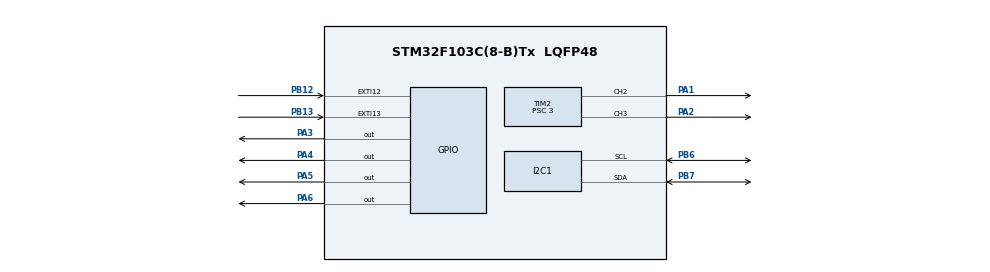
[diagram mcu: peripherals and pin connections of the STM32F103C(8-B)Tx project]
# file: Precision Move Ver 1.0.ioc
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Mcu.Family=STM32F1
Mcu.Name=STM32F103C(8-B)Tx
Mcu.Package=LQFP48
NVIC.EXTI15_10_IRQn=true\:0\:0\:false\:false\:true\:true\:true\:true
NVIC.PriorityGroup=NVIC_PRIORITYGROUP_4
PA1.Signal=S_TIM2_CH2
PA13.Mode=Serial_Wire
PA13.Signal=SYS_JTMS-SWDIO
PA14.Mode=Serial_Wire
PA14.Signal=SYS_JTCK-SWCLK
PA2.Signal=S_TIM2_CH3
PA3.Signal=GPIO_Output
PA4.Signal=GPIO_Output
PA5.Signal=GPIO_Output
PA6.Signal=GPIO_Output
PB12.Signal=GPXTI12
PB13.Signal=GPXTI13
PB6.Mode=I2C
PB6.Signal=I2C1_SCL
PB7.Mode=I2C
PB7.Signal=I2C1_SDA
ProjectManager.HeapSize=0x200
ProjectManager.StackSize=0x400
ProjectManager.TargetToolchain=STM32CubeIDE
RCC.APB1Freq_Value=8000000
RCC.APB2Freq_Value=8000000
SH.S_TIM2_CH2.0=TIM2_CH2,PWM Generation2 CH2
SH.S_TIM2_CH3.0=TIM2_CH3,PWM Generation3 CH3
TIM2.Channel-PWM\ Generation2\ CH2=TIM_CHANNEL_2
TIM2.Channel-PWM\ Generation3\ CH3=TIM_CHANNEL_3
TIM2.Period=199
TIM2.Prescaler=3
board=custom

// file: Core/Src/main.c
/* USER CODE BEGIN Header */
/**
  ******************************************************************************
  * @file           : main.c
  * @brief          : Main program body
  ******************************************************************************
  * @attention
  *
  * Copyright (c) 2023 STMicroelectronics.
  * All rights reserved.
  *
  * This software is licensed under terms that can be found in the LICENSE file
  * in the root directory of this software component.
  * If no LICENSE file comes with this software, it is provided AS-IS.
  *
  ******************************************************************************
  */
/* USER CODE END Header */
#include "main.h"

/* USER CODE BEGIN Includes */
#include "stm32f1xx_hal.h"
#include "stdio.h"
#include "i2c-lcd.h"
/* USER CODE END Includes */

I2C_HandleTypeDef hi2c1;
TIM_HandleTypeDef htim2;

/* USER CODE BEGIN PV */
//CountR va countL dung de dem so xung (1 xung = 1/20 vong tron banh xe) hay dem quang duong banh xe da di duoc
uint8_t current_pulse_in_50ms_R, current_pulse_in_50ms_L;
uint8_t current_speed_R;
uint8_t current_speed_L;
int expected_distance, sum_distance_R, sum_distance_L;
uint8_t expected_pulse_R, expected_pulse_L;
/* USER CODE END PV */

void SystemClock_Config(void);
static void MX_GPIO_Init(void);
static void MX_I2C1_Init(void);
static void MX_TIM2_Init(void);

/* USER CODE BEGIN 0 */
void run(){
	HAL_GPIO_WritePin(GPIOA, GPIO_PIN_3, GPIO_PIN_RESET);
	HAL_GPIO_WritePin(GPIOA, GPIO_PIN_4, GPIO_PIN_SET);
	HAL_GPIO_WritePin(GPIOA, GPIO_PIN_5, GPIO_PIN_RESET);
	HAL_GPIO_WritePin(GPIOA, GPIO_PIN_6, GPIO_PIN_SET);
	TIM2 -> CCR2 = current_speed_R;
	TIM2 -> CCR3 = current_speed_L;
  }

/* USER CODE END 0 */

int main(void)
{

  /* MCU Configuration--------------------------------------------------------*/

  /* Reset of all peripherals, Initializes the Flash interface and the Systick. */
  HAL_Init();

  /* Configure the system clock */
  SystemClock_Config();

  /* Initialize all configured peripherals */
  MX_GPIO_Init();
  MX_I2C1_Init();
  MX_TIM2_Init();
  /* USER CODE BEGIN 2 */
	HAL_TIM_PWM_Start(&htim2, TIM_CHANNEL_2);
	HAL_TIM_PWM_Start(&htim2, TIM_CHANNEL_3);
	lcd_clear_display();
	lcd_init();
	lcd_send_string("DisL: ");
	lcd_goto_XY(2, 0);
	lcd_send_string("DisR: ");
	lcd_goto_XY(1, 12);
	lcd_send_string("pts");
	lcd_goto_XY(2, 12);
	lcd_send_string("pts");
	current_speed_R = 170;
	current_speed_L = 168;
	run();
	//quang duong di duoc trong 50ms, dung de tinh van toc tuc thoi
	current_pulse_in_50ms_R = 0;
	current_pulse_in_50ms_L = 0;
	expected_pulse_R = 5;
	expected_pulse_L = 5;

	  //Quang duong xe di duoc tognthe tu luc bat dau cho toi khi dung lai
	sum_distance_R = 0;
	sum_distance_L = 0;
	expected_distance = 620;
  /* USER CODE END 2 */

  /* Infinite loop */
  while (1)
  {
    /* USER CODE BEGIN 3 */

	  lcd_goto_XY(1, 9);
	  lcd_send_data(current_pulse_in_50ms_L + 48);
	  lcd_goto_XY(2, 9);
	  lcd_send_data(current_pulse_in_50ms_R + 48);

	  current_pulse_in_50ms_R = 0;
	  current_pulse_in_50ms_L = 0;
	  HAL_Delay(50);
//	  current_speed_R = current_speed_R - (current_pulse_in_50ms_R - expected_pulse_R) * 3 ;
//	  current_speed_L = current_speed_L - (current_pulse_in_50ms_L - expected_pulse_L) * 2.25 ;
	  TIM2 -> CCR2 = current_speed_R;
	  TIM2 -> CCR3 = current_speed_L;
		if(sum_distance_R >= expected_distance){
			HAL_GPIO_WritePin(GPIOA, GPIO_PIN_3, GPIO_PIN_RESET);
			HAL_GPIO_WritePin(GPIOA, GPIO_PIN_4, GPIO_PIN_RESET);
		};
		if(sum_distance_L >= expected_distance){
			HAL_GPIO_WritePin(GPIOA, GPIO_PIN_5, GPIO_PIN_RESET);
			HAL_GPIO_WritePin(GPIOA, GPIO_PIN_6, GPIO_PIN_RESET);
		}

  }
  /* USER CODE END 3 */
}

void SystemClock_Config(void)
{
  RCC_OscInitTypeDef RCC_OscInitStruct = {0};
  RCC_ClkInitTypeDef RCC_ClkInitStruct = {0};

  /** Initializes the RCC Oscillators according to the specified parameters
  * in the RCC_OscInitTypeDef structure.
  */
  RCC_OscInitStruct.OscillatorType = RCC_OSCILLATORTYPE_HSI;
  RCC_OscInitStruct.HSIState = RCC_HSI_ON;
  RCC_OscInitStruct.HSICalibrationValue = RCC_HSICALIBRATION_DEFAULT;
  RCC_OscInitStruct.PLL.PLLState = RCC_PLL_NONE;
  if (HAL_RCC_OscConfig(&RCC_OscInitStruct) != HAL_OK)
  {
    Error_Handler();
  }

  /** Initializes the CPU, AHB and APB buses clocks
  */
  RCC_ClkInitStruct.ClockType = RCC_CLOCKTYPE_HCLK|RCC_CLOCKTYPE_SYSCLK
                              |RCC_CLOCKTYPE_PCLK1|RCC_CLOCKTYPE_PCLK2;
  RCC_ClkInitStruct.SYSCLKSource = RCC_SYSCLKSOURCE_HSI;
  RCC_ClkInitStruct.AHBCLKDivider = RCC_SYSCLK_DIV1;
  RCC_ClkInitStruct.APB1CLKDivider = RCC_HCLK_DIV1;
  RCC_ClkInitStruct.APB2CLKDivider = RCC_HCLK_DIV1;

  if (HAL_RCC_ClockConfig(&RCC_ClkInitStruct, FLASH_LATENCY_0) != HAL_OK)
  {
    Error_Handler();
  }
}

static void MX_I2C1_Init(void)
{

  hi2c1.Instance = I2C1;
  hi2c1.Init.ClockSpeed = 100000;
  hi2c1.Init.DutyCycle = I2C_DUTYCYCLE_2;
  hi2c1.Init.OwnAddress1 = 0;
  hi2c1.Init.AddressingMode = I2C_ADDRESSINGMODE_7BIT;
  hi2c1.Init.DualAddressMode = I2C_DUALADDRESS_DISABLE;
  hi2c1.Init.OwnAddress2 = 0;
  hi2c1.Init.GeneralCallMode = I2C_GENERALCALL_DISABLE;
  hi2c1.Init.NoStretchMode = I2C_NOSTRETCH_DISABLE;
  if (HAL_I2C_Init(&hi2c1) != HAL_OK)
  {
    Error_Handler();
  }

}

static void MX_TIM2_Init(void)
{

  TIM_MasterConfigTypeDef sMasterConfig = {0};
  TIM_OC_InitTypeDef sConfigOC = {0};

  htim2.Instance = TIM2;
  htim2.Init.Prescaler = 3;
  htim2.Init.CounterMode = TIM_COUNTERMODE_UP;
  htim2.Init.Period = 199;
  htim2.Init.ClockDivision = TIM_CLOCKDIVISION_DIV1;
  htim2.Init.AutoReloadPreload = TIM_AUTORELOAD_PRELOAD_DISABLE;
  if (HAL_TIM_PWM_Init(&htim2) != HAL_OK)
  {
    Error_Handler();
  }
  sMasterConfig.MasterOutputTrigger = TIM_TRGO_RESET;
  sMasterConfig.MasterSlaveMode = TIM_MASTERSLAVEMODE_DISABLE;
  if (HAL_TIMEx_MasterConfigSynchronization(&htim2, &sMasterConfig) != HAL_OK)
  {
    Error_Handler();
  }
  sConfigOC.OCMode = TIM_OCMODE_PWM1;
  sConfigOC.Pulse = 0;
  sConfigOC.OCPolarity = TIM_OCPOLARITY_HIGH;
  sConfigOC.OCFastMode = TIM_OCFAST_DISABLE;
  if (HAL_TIM_PWM_ConfigChannel(&htim2, &sConfigOC, TIM_CHANNEL_2) != HAL_OK)
  {
    Error_Handler();
  }
  if (HAL_TIM_PWM_ConfigChannel(&htim2, &sConfigOC, TIM_CHANNEL_3) != HAL_OK)
  {
    Error_Handler();
  }
  HAL_TIM_MspPostInit(&htim2);

}

static void MX_GPIO_Init(void)
{
  GPIO_InitTypeDef GPIO_InitStruct = {0};

  /* GPIO Ports Clock Enable */
  __HAL_RCC_GPIOA_CLK_ENABLE();
  __HAL_RCC_GPIOB_CLK_ENABLE();

  /*Configure GPIO pin Output Level */
  HAL_GPIO_WritePin(GPIOA, GPIO_PIN_3|GPIO_PIN_4|GPIO_PIN_5|GPIO_PIN_6, GPIO_PIN_RESET);

  /*Configure GPIO pins : PA3 PA4 PA5 PA6 */
  GPIO_InitStruct.Pin = GPIO_PIN_3|GPIO_PIN_4|GPIO_PIN_5|GPIO_PIN_6;
  GPIO_InitStruct.Mode = GPIO_MODE_OUTPUT_PP;
  GPIO_InitStruct.Pull = GPIO_NOPULL;
  GPIO_InitStruct.Speed = GPIO_SPEED_FREQ_LOW;
  HAL_GPIO_Init(GPIOA, &GPIO_InitStruct);

  /*Configure GPIO pins : PB12 PB13 */
  GPIO_InitStruct.Pin = GPIO_PIN_12|GPIO_PIN_13;
  GPIO_InitStruct.Mode = GPIO_MODE_IT_RISING;
  GPIO_InitStruct.Pull = GPIO_NOPULL;
  HAL_GPIO_Init(GPIOB, &GPIO_InitStruct);

  /* EXTI interrupt init*/
  HAL_NVIC_SetPriority(EXTI15_10_IRQn, 0, 0);
  HAL_NVIC_EnableIRQ(EXTI15_10_IRQn);

}

/* USER CODE BEGIN 4 */
void HAL_GPIO_EXTI_Callback(uint16_t GPIO_Pin){
	if(GPIO_Pin == GPIO_PIN_13){
		current_pulse_in_50ms_R++;
		sum_distance_R++;
	};
	if(GPIO_Pin == GPIO_PIN_12){
		current_pulse_in_50ms_L++;
		sum_distance_L++;
	}
}
/* USER CODE END 4 */

void Error_Handler(void)
{
  __disable_irq();
  while (1)
  {
  }
}
